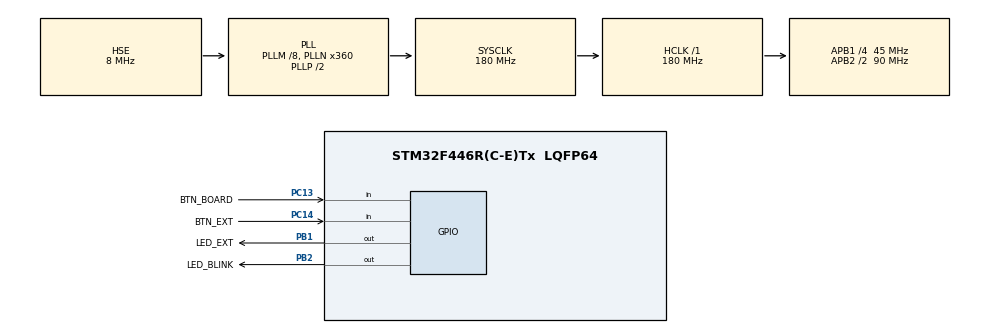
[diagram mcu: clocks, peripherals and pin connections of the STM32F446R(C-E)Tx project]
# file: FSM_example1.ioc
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Mcu.Family=STM32F4
Mcu.Name=STM32F446R(C-E)Tx
Mcu.Package=LQFP64
NVIC.PriorityGroup=NVIC_PRIORITYGROUP_4
PA13.Mode=Serial_Wire
PA13.Signal=SYS_JTMS-SWDIO
PA14.Mode=Serial_Wire
PA14.Signal=SYS_JTCK-SWCLK
PB1.GPIO_Label=LED_EXT
PB1.Signal=GPIO_Output
PB2.GPIO_Label=LED_BLINK
PB2.Signal=GPIO_Output
PC13.GPIO_Label=BTN_BOARD
PC13.Signal=GPIO_Input
PC14-OSC32_IN.GPIO_Label=BTN_EXT
PC14-OSC32_IN.Signal=GPIO_Input
PH0-OSC_IN.Mode=HSE-External-Oscillator
PH0-OSC_IN.Signal=RCC_OSC_IN
PH1-OSC_OUT.Mode=HSE-External-Oscillator
PH1-OSC_OUT.Signal=RCC_OSC_OUT
ProjectManager.HeapSize=0x200
ProjectManager.StackSize=0x400
ProjectManager.TargetToolchain=STM32CubeIDE
RCC.AHBFreq_Value=180000000
RCC.APB1CLKDivider=RCC_HCLK_DIV4
RCC.APB1Freq_Value=45000000
RCC.APB1TimFreq_Value=90000000
RCC.APB2CLKDivider=RCC_HCLK_DIV2
RCC.APB2Freq_Value=90000000
RCC.APB2TimFreq_Value=180000000
RCC.CortexFreq_Value=180000000
RCC.HCLKFreq_Value=180000000
RCC.HSE_VALUE=8000000
RCC.PLLM=8
RCC.PLLN=360
RCC.PLLSourceVirtual=RCC_PLLSOURCE_HSE
RCC.SYSCLKFreq_VALUE=180000000
RCC.SYSCLKSource=RCC_SYSCLKSOURCE_PLLCLK
RCC.USBFreq_Value=180000000
RCC.VCOOutputFreq_Value=360000000
VP_TIM2_VS_ClockSourceINT.Mode=Internal
VP_TIM3_VS_ClockSourceINT.Mode=Internal
board=custom

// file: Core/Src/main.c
/* USER CODE BEGIN Header */
/**
  ******************************************************************************
  * @file           : main.c
  * @brief          : Main program body
  ******************************************************************************
  * @attention
  *
  * Copyright (c) 2026 STMicroelectronics.
  * All rights reserved.
  *
  * This software is licensed under terms that can be found in the LICENSE file
  * in the root directory of this software component.
  * If no LICENSE file comes with this software, it is provided AS-IS.
  *
  ******************************************************************************
  */
/* USER CODE END Header */
#include "main.h"

/* USER CODE BEGIN Includes */
#include "systemsettings.h"
#include "application.h"
#include "led1.h"
#include "led2.h"
/* USER CODE END Includes */

/* USER CODE BEGIN PD */
#define LEN_EV_QUEUE_LED1 10
#define LEN_EV_QUEUE_LED2 10
#define LEN_EV_QUEUE_APPLICATION 10
/* USER CODE END PD */

TIM_HandleTypeDef htim2;
TIM_HandleTypeDef htim3;

/* USER CODE BEGIN PV */
static Event_t l_evBufferLed1[LEN_EV_QUEUE_LED1];
static Event_t l_evBufferLed2[LEN_EV_QUEUE_LED2];
static Event_t l_evBufferApplication[LEN_EV_QUEUE_APPLICATION];
/* USER CODE END PV */

void SystemClock_Config(void);
static void MX_GPIO_Init(void);
static void MX_TIM2_Init(void);
static void MX_TIM3_Init(void);

int main(void)
{

  /* USER CODE BEGIN 1 */
  Event_t e;
  /* USER CODE END 1 */

  /* MCU Configuration--------------------------------------------------------*/

  /* Reset of all peripherals, Initializes the Flash interface and the Systick. */
  HAL_Init();

  /* Configure the system clock */
  SystemClock_Config();

  /* Initialize all configured peripherals */
  MX_GPIO_Init();
  MX_TIM2_Init();
  MX_TIM3_Init();
  /* USER CODE BEGIN 2 */
  Led1_constructor(LED_BLINK_GPIO_Port, LED_BLINK_Pin);
  Led2_constructor(LED_EXT_GPIO_Port, LED_EXT_Pin);
  Application_constructor(&htim3);

  ActiveObject_start(AOled1, l_evBufferLed1, LEN_EV_QUEUE_LED1);
  ActiveObject_start(AOled2, l_evBufferLed2, LEN_EV_QUEUE_LED2);
  ActiveObject_start(AOapplication, l_evBufferApplication, LEN_EV_QUEUE_APPLICATION);

  HAL_TIM_Base_Start_IT(&htim2);
  /* USER CODE END 2 */

  /* Infinite loop */
  while (1)
  {

    /* USER CODE BEGIN 3 */
	// - There are two LEDs that blink with different configurations.
	// - When switch 1 is pressed, both LEDs blink every 500 ms.
	// - Switch 2 can be pressed to turn LED 2 on/off and alter the blinking pattern of both LEDs.
	// - When switch 1 is pressed again, both LEDs turn off until switch 1 is pressed again.

	if ((e = ActiveObject_get_event(AOled1)) != SIG_NONE) {
      ActiveObject_dispatch(AOled1, e);
	}
	if ((e = ActiveObject_get_event(AOled2)) != SIG_NONE) {
      ActiveObject_dispatch(AOled2, e);
	}
	if ((e = ActiveObject_get_event(AOapplication)) != SIG_NONE) {
	  ActiveObject_dispatch(AOapplication, e);
	}
  }
  /* USER CODE END 3 */
}

void SystemClock_Config(void)
{
  RCC_OscInitTypeDef RCC_OscInitStruct = {0};
  RCC_ClkInitTypeDef RCC_ClkInitStruct = {0};

  /** Configure the main internal regulator output voltage
  */
  __HAL_RCC_PWR_CLK_ENABLE();
  __HAL_PWR_VOLTAGESCALING_CONFIG(PWR_REGULATOR_VOLTAGE_SCALE1);

  /** Initializes the RCC Oscillators according to the specified parameters
  * in the RCC_OscInitTypeDef structure.
  */
  RCC_OscInitStruct.OscillatorType = RCC_OSCILLATORTYPE_HSE;
  RCC_OscInitStruct.HSEState = RCC_HSE_ON;
  RCC_OscInitStruct.PLL.PLLState = RCC_PLL_ON;
  RCC_OscInitStruct.PLL.PLLSource = RCC_PLLSOURCE_HSE;
  RCC_OscInitStruct.PLL.PLLM = 8;
  RCC_OscInitStruct.PLL.PLLN = 360;
  RCC_OscInitStruct.PLL.PLLP = RCC_PLLP_DIV2;
  RCC_OscInitStruct.PLL.PLLQ = 2;
  RCC_OscInitStruct.PLL.PLLR = 2;
  if (HAL_RCC_OscConfig(&RCC_OscInitStruct) != HAL_OK)
  {
    Error_Handler();
  }

  /** Activate the Over-Drive mode
  */
  if (HAL_PWREx_EnableOverDrive() != HAL_OK)
  {
    Error_Handler();
  }

  /** Initializes the CPU, AHB and APB buses clocks
  */
  RCC_ClkInitStruct.ClockType = RCC_CLOCKTYPE_HCLK|RCC_CLOCKTYPE_SYSCLK
                              |RCC_CLOCKTYPE_PCLK1|RCC_CLOCKTYPE_PCLK2;
  RCC_ClkInitStruct.SYSCLKSource = RCC_SYSCLKSOURCE_PLLCLK;
  RCC_ClkInitStruct.AHBCLKDivider = RCC_SYSCLK_DIV1;
  RCC_ClkInitStruct.APB1CLKDivider = RCC_HCLK_DIV4;
  RCC_ClkInitStruct.APB2CLKDivider = RCC_HCLK_DIV2;

  if (HAL_RCC_ClockConfig(&RCC_ClkInitStruct, FLASH_LATENCY_5) != HAL_OK)
  {
    Error_Handler();
  }
}

static void MX_TIM2_Init(void)
{

  TIM_ClockConfigTypeDef sClockSourceConfig = {0};
  TIM_MasterConfigTypeDef sMasterConfig = {0};

  htim2.Instance = TIM2;
  htim2.Init.Prescaler = 1000-1;
  htim2.Init.CounterMode = TIM_COUNTERMODE_UP;
  htim2.Init.Period = 3600-1;
  htim2.Init.ClockDivision = TIM_CLOCKDIVISION_DIV1;
  htim2.Init.AutoReloadPreload = TIM_AUTORELOAD_PRELOAD_DISABLE;
  if (HAL_TIM_Base_Init(&htim2) != HAL_OK)
  {
    Error_Handler();
  }
  sClockSourceConfig.ClockSource = TIM_CLOCKSOURCE_INTERNAL;
  if (HAL_TIM_ConfigClockSource(&htim2, &sClockSourceConfig) != HAL_OK)
  {
    Error_Handler();
  }
  sMasterConfig.MasterOutputTrigger = TIM_TRGO_RESET;
  sMasterConfig.MasterSlaveMode = TIM_MASTERSLAVEMODE_DISABLE;
  if (HAL_TIMEx_MasterConfigSynchronization(&htim2, &sMasterConfig) != HAL_OK)
  {
    Error_Handler();
  }

}

static void MX_TIM3_Init(void)
{

  TIM_ClockConfigTypeDef sClockSourceConfig = {0};
  TIM_MasterConfigTypeDef sMasterConfig = {0};

  htim3.Instance = TIM3;
  htim3.Init.Prescaler = 1000-1;
  htim3.Init.CounterMode = TIM_COUNTERMODE_UP;
  htim3.Init.Period = 36000-1;
  htim3.Init.ClockDivision = TIM_CLOCKDIVISION_DIV1;
  htim3.Init.AutoReloadPreload = TIM_AUTORELOAD_PRELOAD_DISABLE;
  if (HAL_TIM_Base_Init(&htim3) != HAL_OK)
  {
    Error_Handler();
  }
  sClockSourceConfig.ClockSource = TIM_CLOCKSOURCE_INTERNAL;
  if (HAL_TIM_ConfigClockSource(&htim3, &sClockSourceConfig) != HAL_OK)
  {
    Error_Handler();
  }
  sMasterConfig.MasterOutputTrigger = TIM_TRGO_RESET;
  sMasterConfig.MasterSlaveMode = TIM_MASTERSLAVEMODE_DISABLE;
  if (HAL_TIMEx_MasterConfigSynchronization(&htim3, &sMasterConfig) != HAL_OK)
  {
    Error_Handler();
  }

}

static void MX_GPIO_Init(void)
{
  GPIO_InitTypeDef GPIO_InitStruct = {0};

  /* GPIO Ports Clock Enable */
  __HAL_RCC_GPIOC_CLK_ENABLE();
  __HAL_RCC_GPIOH_CLK_ENABLE();
  __HAL_RCC_GPIOB_CLK_ENABLE();
  __HAL_RCC_GPIOA_CLK_ENABLE();

  /*Configure GPIO pin Output Level */
  HAL_GPIO_WritePin(GPIOB, LED_EXT_Pin|LED_BLINK_Pin, GPIO_PIN_RESET);

  /*Configure GPIO pins : BTN_BOARD_Pin BTN_EXT_Pin */
  GPIO_InitStruct.Pin = BTN_BOARD_Pin|BTN_EXT_Pin;
  GPIO_InitStruct.Mode = GPIO_MODE_INPUT;
  GPIO_InitStruct.Pull = GPIO_PULLDOWN;
  HAL_GPIO_Init(GPIOC, &GPIO_InitStruct);

  /*Configure GPIO pins : LED_EXT_Pin LED_BLINK_Pin */
  GPIO_InitStruct.Pin = LED_EXT_Pin|LED_BLINK_Pin;
  GPIO_InitStruct.Mode = GPIO_MODE_OUTPUT_PP;
  GPIO_InitStruct.Pull = GPIO_NOPULL;
  GPIO_InitStruct.Speed = GPIO_SPEED_FREQ_LOW;
  HAL_GPIO_Init(GPIOB, &GPIO_InitStruct);

}

/* USER CODE BEGIN 4 */
void HAL_TIM_PeriodElapsedCallback(TIM_HandleTypeDef* htim)
{
    static uint32_t asserted = 0;
    static uint32_t previous = 0;
    uint32_t current;
    uint32_t tmp;

    // ==================================================================
    // Interrupción timer 2
    if(htim == &htim2)
    {
		// Se lee el estado del puerto A donde están los pulsadores
		current = ~(BTN_BOARD_GPIO_Port->IDR);

		tmp = asserted;
		asserted |= (previous & current); // Se setean los valores asserteados en 1
		asserted &= (previous | current); // Se limpian los valores asserteados en 0
		previous = current;
		tmp ^= asserted; // Esta XOR setea 1s en "tmp" cuando hubo algún cambio, de nivel alto a bajo o visceversa

		// ==================================================================
		// Se chequea si hubo cambios en el pulsador switch 1
		if( (tmp & BTN_BOARD_Pin) != 0 )
		{
			// Se chequea si el cambio fue que se presionó el botón
			if( (asserted & BTN_BOARD_Pin) != 0 )
			{
				// ACCIÓN DE BOTÓN PRESIONADO
				ActiveObject_send_event(AOapplication, SIG_SW_1_PRESSED);
			}
		}

		// ==================================================================
		// Se chequea si hubo cambios en el pulsador switch 2
		if( (tmp & BTN_EXT_Pin) != 0 )
		{
			// Se chequea si el cambio fue que se presionó el botón
			if( (asserted & BTN_EXT_Pin) != 0 )
			{
				// ACCIÓN DE BOTÓN PRESIONADO
				ActiveObject_send_event(AOapplication, SIG_SW_2_PRESSED);
			}
		}
    }
    // ==================================================================
    // Interrupción timer 3
    if(htim==&htim3)
    {
    	ActiveObject_send_event(AOled1, SIG_TOGGLE);
    	ActiveObject_send_event(AOled2, SIG_TOGGLE);
    }
}
/* USER CODE END 4 */

void Error_Handler(void)
{
  __disable_irq();
  while (1)
  {
  }
}
